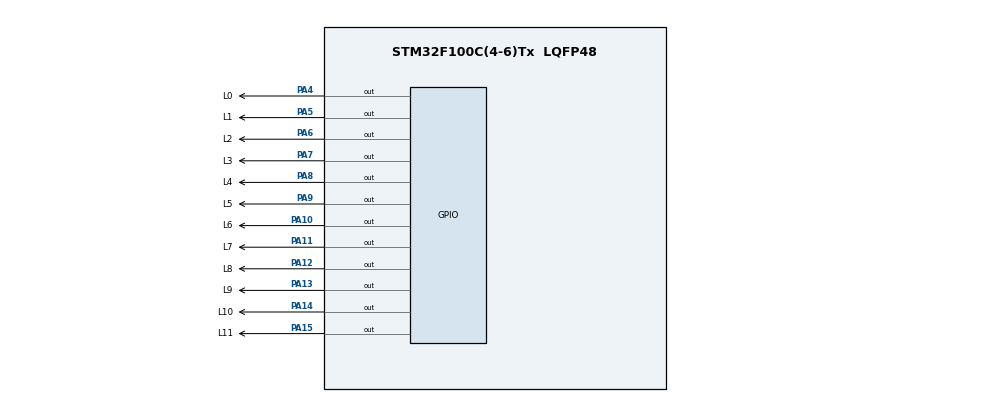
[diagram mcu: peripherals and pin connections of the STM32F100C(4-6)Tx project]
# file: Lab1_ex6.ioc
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Mcu.Family=STM32F1
Mcu.Name=STM32F100C(4-6)Tx
Mcu.Package=LQFP48
NVIC.PriorityGroup=NVIC_PRIORITYGROUP_4
PA10.GPIO_Label=L6
PA10.Signal=GPIO_Output
PA11.GPIO_Label=L7
PA11.Signal=GPIO_Output
PA12.GPIO_Label=L8
PA12.Signal=GPIO_Output
PA13.GPIO_Label=L9
PA13.Signal=GPIO_Output
PA14.GPIO_Label=L10
PA14.Signal=GPIO_Output
PA15.GPIO_Label=L11
PA15.Signal=GPIO_Output
PA4.GPIO_Label=L0
PA4.Signal=GPIO_Output
PA5.GPIO_Label=L1
PA5.Signal=GPIO_Output
PA6.GPIO_Label=L2
PA6.Signal=GPIO_Output
PA7.GPIO_Label=L3
PA7.Signal=GPIO_Output
PA8.GPIO_Label=L4
PA8.Signal=GPIO_Output
PA9.GPIO_Label=L5
PA9.Signal=GPIO_Output
ProjectManager.HeapSize=0x200
ProjectManager.StackSize=0x400
ProjectManager.TargetToolchain=STM32CubeIDE
RCC.APB1Freq_Value=8000000
RCC.APB2Freq_Value=8000000
board=custom

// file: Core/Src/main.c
/* USER CODE BEGIN Header */
/**
  ******************************************************************************
  * @file           : main.c
  * @brief          : Main program body
  ******************************************************************************
  * @attention
  *
  * Copyright (c) 2024 STMicroelectronics.
  * All rights reserved.
  *
  * This software is licensed under terms that can be found in the LICENSE file
  * in the root directory of this software component.
  * If no LICENSE file comes with this software, it is provided AS-IS.
  *
  ******************************************************************************
  */
/* USER CODE END Header */
#include "main.h"

/* USER CODE BEGIN Includes */
//b7
//void clearAllClock() {
//    // Tắt tất cả các LED từ PA4 đến PA15
//    HAL_GPIO_WritePin(GPIOA, L0_Pin, GPIO_PIN_RESET);
//    HAL_GPIO_WritePin(GPIOA, L1_Pin, GPIO_PIN_RESET);
//    HAL_GPIO_WritePin(GPIOA, L2_Pin, GPIO_PIN_RESET);
//    HAL_GPIO_WritePin(GPIOA, L3_Pin, GPIO_PIN_RESET);
//    HAL_GPIO_WritePin(GPIOA, L4_Pin, GPIO_PIN_RESET);
//    HAL_GPIO_WritePin(GPIOA, L5_Pin, GPIO_PIN_RESET);
//    HAL_GPIO_WritePin(GPIOA, L6_Pin, GPIO_PIN_RESET);
//    HAL_GPIO_WritePin(GPIOA, L7_Pin, GPIO_PIN_RESET);
//    HAL_GPIO_WritePin(GPIOA, L8_Pin, GPIO_PIN_RESET);
//    HAL_GPIO_WritePin(GPIOA, L9_Pin, GPIO_PIN_RESET);
//    HAL_GPIO_WritePin(GPIOA, L10_Pin, GPIO_PIN_RESET);
//    HAL_GPIO_WritePin(GPIOA, L11_Pin, GPIO_PIN_RESET);
//}

void clearAllClock()
	{
		HAL_GPIO_WritePin(GPIOA, GPIO_PIN_All, 0);
	}

//b8
void setNumberOnClock(int num){
	switch(num){
	case 0:
	    HAL_GPIO_WritePin(GPIOA, L0_Pin, GPIO_PIN_SET);
	    break;
	case 1:
	    HAL_GPIO_WritePin(GPIOA, L1_Pin, GPIO_PIN_SET);
	    break;
	case 2:
	    HAL_GPIO_WritePin(GPIOA, L2_Pin, GPIO_PIN_SET);
	    break;
	case 3:
	    HAL_GPIO_WritePin(GPIOA, L3_Pin, GPIO_PIN_SET);
	    break;
	case 4:
	    HAL_GPIO_WritePin(GPIOA, L4_Pin, GPIO_PIN_SET);
	    break;
	case 5:
	    HAL_GPIO_WritePin(GPIOA, L5_Pin, GPIO_PIN_SET);
	    break;
	case 6:
	    HAL_GPIO_WritePin(GPIOA, L6_Pin, GPIO_PIN_SET);
	    break;
	case 7:
	    HAL_GPIO_WritePin(GPIOA, L7_Pin, GPIO_PIN_SET);
	    break;
	case 8:
	    HAL_GPIO_WritePin(GPIOA, L8_Pin, GPIO_PIN_SET);
	    break;
	case 9:
	    HAL_GPIO_WritePin(GPIOA, L9_Pin, GPIO_PIN_SET);
	    break;

	case 10:
	    HAL_GPIO_WritePin(GPIOA, L10_Pin, GPIO_PIN_SET);
	    break;
	case 11:
	    HAL_GPIO_WritePin(GPIOA, L11_Pin, GPIO_PIN_SET);
	    break;
	default:
		break;
	}
}

		void clearNumberOnClock(int num){

			switch(num){
			case 0:
			    HAL_GPIO_WritePin(GPIOA, L0_Pin, GPIO_PIN_RESET);
			    break;
			case 1:
			    HAL_GPIO_WritePin(GPIOA, L1_Pin, GPIO_PIN_RESET);
			    break;
			case 2:
			    HAL_GPIO_WritePin(GPIOA, L2_Pin, GPIO_PIN_RESET);
			    break;
			case 3:
			    HAL_GPIO_WritePin(GPIOA, L3_Pin, GPIO_PIN_RESET);
			    break;
			case 4:
			    HAL_GPIO_WritePin(GPIOA, L4_Pin, GPIO_PIN_RESET);
			    break;
			case 5:
			    HAL_GPIO_WritePin(GPIOA, L5_Pin, GPIO_PIN_RESET);
			    break;
			case 6:
			    HAL_GPIO_WritePin(GPIOA, L6_Pin, GPIO_PIN_RESET);
			    break;
			case 7:
			    HAL_GPIO_WritePin(GPIOA, L7_Pin, GPIO_PIN_RESET);
			    break;
			case 8:
			    HAL_GPIO_WritePin(GPIOA, L8_Pin, GPIO_PIN_RESET);
			    break;
			case 9:
			    HAL_GPIO_WritePin(GPIOA, L9_Pin, GPIO_PIN_RESET);
			    break;

			case 10:
			    HAL_GPIO_WritePin(GPIOA, L10_Pin, GPIO_PIN_RESET);
			    break;
			case 11:
			    HAL_GPIO_WritePin(GPIOA, L0_Pin, GPIO_PIN_SET);
			    break;
			default:
				break;
			}

	}

/* USER CODE END Includes */

void SystemClock_Config(void);
static void MX_GPIO_Init(void);

int main(void)
{

  /* MCU Configuration--------------------------------------------------------*/

  /* Reset of all peripherals, Initializes the Flash interface and the Systick. */
  HAL_Init();

  /* Configure the system clock */
  SystemClock_Config();

  /* Initialize all configured peripherals */
  MX_GPIO_Init();

  /* Infinite loop */
  /* USER CODE BEGIN WHILE */
  int second=0;
  int minute =0;
  int hour =0;
  while (1)
  {
	  //b6 quét led
//	  for (int i = 4; i <= 15; i++) {
//	              clearAllClock();  // Tắt tất cả các LED trước
//	              HAL_GPIO_WritePin(GPIOA, (1 << i), GPIO_PIN_SET);  // Bật LED tại chân PA[i]
//	              HAL_Delay(500);
//	          }
//b7
//	  clearAllClock();
//b8
//	  setNumberOnClock(2);
//b9
//	  clearNumberOnClock(10);
//b10
	  clearAllClock ();
	  	  if( second == 60) {
	  		  second = 0;
	  		  minute++;
	  	  }
	  	  if( minute == 60) {
	  		  minute = 0;
	  		  hour++;
	  	  }
	  	  if( hour == 12) {
	  		  hour = 0;
	  	  }
	  	  setNumberOnClock(second/5);
	  	  setNumberOnClock(minute/5);
	  	  setNumberOnClock(hour);
	  	  second++;
	  	  HAL_Delay (100) ;

    /* USER CODE END WHILE */
  }

  }

void SystemClock_Config(void)
{
  RCC_OscInitTypeDef RCC_OscInitStruct = {0};
  RCC_ClkInitTypeDef RCC_ClkInitStruct = {0};

  /** Initializes the RCC Oscillators according to the specified parameters
  * in the RCC_OscInitTypeDef structure.
  */
  RCC_OscInitStruct.OscillatorType = RCC_OSCILLATORTYPE_HSI;
  RCC_OscInitStruct.HSIState = RCC_HSI_ON;
  RCC_OscInitStruct.HSICalibrationValue = RCC_HSICALIBRATION_DEFAULT;
  RCC_OscInitStruct.PLL.PLLState = RCC_PLL_NONE;
  if (HAL_RCC_OscConfig(&RCC_OscInitStruct) != HAL_OK)
  {
    Error_Handler();
  }

  /** Initializes the CPU, AHB and APB buses clocks
  */
  RCC_ClkInitStruct.ClockType = RCC_CLOCKTYPE_HCLK|RCC_CLOCKTYPE_SYSCLK
                              |RCC_CLOCKTYPE_PCLK1|RCC_CLOCKTYPE_PCLK2;
  RCC_ClkInitStruct.SYSCLKSource = RCC_SYSCLKSOURCE_HSI;
  RCC_ClkInitStruct.AHBCLKDivider = RCC_SYSCLK_DIV1;
  RCC_ClkInitStruct.APB1CLKDivider = RCC_HCLK_DIV1;
  RCC_ClkInitStruct.APB2CLKDivider = RCC_HCLK_DIV1;

  if (HAL_RCC_ClockConfig(&RCC_ClkInitStruct, FLASH_LATENCY_0) != HAL_OK)
  {
    Error_Handler();
  }
}

static void MX_GPIO_Init(void)
{
  GPIO_InitTypeDef GPIO_InitStruct = {0};

  /* GPIO Ports Clock Enable */
  __HAL_RCC_GPIOA_CLK_ENABLE();

  /*Configure GPIO pin Output Level */
  HAL_GPIO_WritePin(GPIOA, L0_Pin|L1_Pin|L2_Pin|L3_Pin
                          |L4_Pin|L5_Pin|L6_Pin|L7_Pin
                          |L8_Pin|L9_Pin|L10_Pin|L11_Pin, GPIO_PIN_RESET);

  /*Configure GPIO pins : L0_Pin L1_Pin L2_Pin L3_Pin
                           L4_Pin L5_Pin L6_Pin L7_Pin
                           L8_Pin L9_Pin L10_Pin L11_Pin */
  GPIO_InitStruct.Pin = L0_Pin|L1_Pin|L2_Pin|L3_Pin
                          |L4_Pin|L5_Pin|L6_Pin|L7_Pin
                          |L8_Pin|L9_Pin|L10_Pin|L11_Pin;
  GPIO_InitStruct.Mode = GPIO_MODE_OUTPUT_PP;
  GPIO_InitStruct.Pull = GPIO_NOPULL;
  GPIO_InitStruct.Speed = GPIO_SPEED_FREQ_LOW;
  HAL_GPIO_Init(GPIOA, &GPIO_InitStruct);

}

void Error_Handler(void)
{
  __disable_irq();
  while (1)
  {
  }
}
